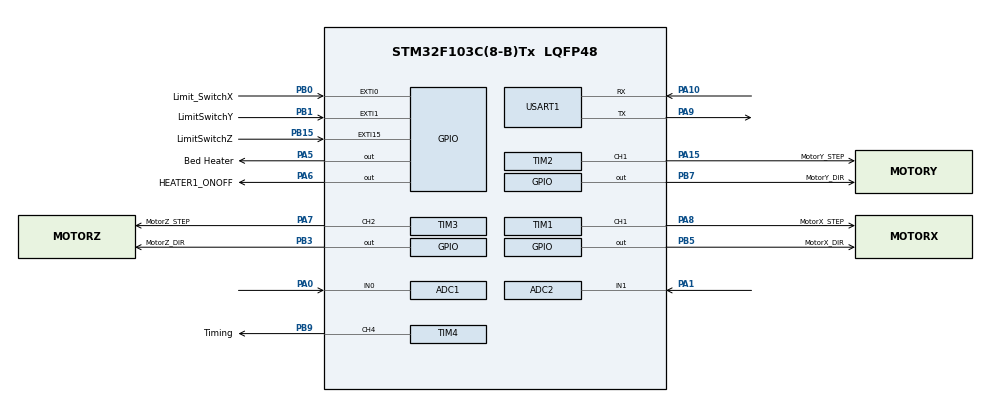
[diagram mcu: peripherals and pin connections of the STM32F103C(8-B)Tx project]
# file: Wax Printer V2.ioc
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ADC1.Channel-0\#ChannelRegularConversion=ADC_CHANNEL_0
ADC1.ContinuousConvMode=DISABLE
ADC1.ExternalTrigConv=ADC_EXTERNALTRIGCONV_T4_CC4
ADC1.NbrOfConversionFlag=1
ADC1.Rank-0\#ChannelRegularConversion=1
ADC1.SamplingTime-0\#ChannelRegularConversion=ADC_SAMPLETIME_13CYCLES_5
ADC1.master=1
ADC2.Channel-2\#ChannelRegularConversion=ADC_CHANNEL_1
ADC2.ExternalTrigConv=ADC_EXTERNALTRIGCONV_T4_CC4
ADC2.NbrOfConversionFlag=1
ADC2.Rank-2\#ChannelRegularConversion=1
ADC2.SamplingTime-2\#ChannelRegularConversion=ADC_SAMPLETIME_1CYCLE_5
Dma.ADC1.0.Direction=DMA_PERIPH_TO_MEMORY
Dma.ADC1.0.Instance=DMA1_Channel1
Dma.ADC1.0.MemDataAlignment=DMA_MDATAALIGN_HALFWORD
Dma.ADC1.0.MemInc=DMA_MINC_ENABLE
Dma.ADC1.0.Mode=DMA_NORMAL
Dma.ADC1.0.PeriphDataAlignment=DMA_PDATAALIGN_HALFWORD
Dma.ADC1.0.PeriphInc=DMA_PINC_DISABLE
Dma.ADC1.0.Priority=DMA_PRIORITY_LOW
Dma.Request0=ADC1
Dma.Request1=USART1_RX
Dma.Request2=USART1_TX
Dma.USART1_RX.1.Direction=DMA_PERIPH_TO_MEMORY
Dma.USART1_RX.1.Instance=DMA1_Channel5
Dma.USART1_RX.1.MemDataAlignment=DMA_MDATAALIGN_BYTE
Dma.USART1_RX.1.MemInc=DMA_MINC_ENABLE
Dma.USART1_RX.1.Mode=DMA_CIRCULAR
Dma.USART1_RX.1.PeriphDataAlignment=DMA_PDATAALIGN_BYTE
Dma.USART1_RX.1.PeriphInc=DMA_PINC_DISABLE
Dma.USART1_RX.1.Priority=DMA_PRIORITY_LOW
Dma.USART1_TX.2.Direction=DMA_MEMORY_TO_PERIPH
Dma.USART1_TX.2.Instance=DMA1_Channel4
Dma.USART1_TX.2.MemDataAlignment=DMA_MDATAALIGN_BYTE
Dma.USART1_TX.2.MemInc=DMA_MINC_ENABLE
Dma.USART1_TX.2.Mode=DMA_NORMAL
Dma.USART1_TX.2.PeriphDataAlignment=DMA_PDATAALIGN_BYTE
Dma.USART1_TX.2.PeriphInc=DMA_PINC_DISABLE
Dma.USART1_TX.2.Priority=DMA_PRIORITY_LOW
Mcu.Family=STM32F1
Mcu.Name=STM32F103C(8-B)Tx
Mcu.Package=LQFP48
NVIC.ADC1_2_IRQn=true\:2\:0\:true\:false\:true\:true\:true
NVIC.DMA1_Channel1_IRQn=true\:1\:0\:true\:false\:true\:false\:true
NVIC.DMA1_Channel4_IRQn=true\:1\:0\:true\:false\:false\:false\:false
NVIC.DMA1_Channel5_IRQn=true\:1\:0\:true\:false\:false\:false\:false
NVIC.EXTI0_IRQn=true\:1\:0\:true\:false\:true\:true\:true
NVIC.EXTI15_10_IRQn=true\:1\:0\:true\:false\:true\:true\:true
NVIC.EXTI1_IRQn=true\:1\:0\:true\:false\:true\:true\:true
NVIC.PriorityGroup=NVIC_PRIORITYGROUP_4
NVIC.TIM4_IRQn=true\:1\:0\:true\:false\:false\:true\:false
NVIC.USART1_IRQn=true\:1\:0\:true\:false\:false\:true\:false
PA0-WKUP.Signal=ADCx_IN0
PA1.Signal=ADCx_IN1
PA10.Mode=Asynchronous
PA10.Signal=USART1_RX
PA13.Mode=Serial_Wire
PA13.Signal=SYS_JTMS-SWDIO
PA14.Mode=Serial_Wire
PA14.Signal=SYS_JTCK-SWCLK
PA15.GPIO_Label=MotorY_STEP
PA15.Signal=S_TIM2_CH1_ETR
PA5.GPIO_Label=Bed Heater
PA5.GPIO_PuPd=GPIO_PULLDOWN
PA5.Signal=GPIO_Output
PA6.GPIO_Label=HEATER1_ONOFF
PA6.GPIO_PuPd=GPIO_PULLDOWN
PA6.PinState=GPIO_PIN_SET
PA6.Signal=GPIO_Output
PA7.GPIO_Label=MotorZ_STEP
PA7.Signal=S_TIM3_CH2
PA8.GPIO_Label=MotorX_STEP
PA8.Signal=S_TIM1_CH1
PA9.GPIO_Speed=GPIO_SPEED_FREQ_LOW
PA9.Mode=Asynchronous
PA9.Signal=USART1_TX
PB0.GPIO_Label=Limit_SwitchX
PB0.GPIO_PuPd=GPIO_PULLUP
PB0.Signal=GPXTI0
PB1.GPIO_Label=LimitSwitchY
PB1.GPIO_PuPd=GPIO_PULLUP
PB1.Signal=GPXTI1
PB15.GPIO_Label=LimitSwitchZ
PB15.GPIO_PuPd=GPIO_PULLUP
PB15.Signal=GPXTI15
PB3.GPIO_Label=MotorZ_DIR
PB3.GPIO_PuPd=GPIO_PULLDOWN
PB3.Signal=GPIO_Output
PB4.Signal=SYS_NJTRST
PB5.GPIO_Label=MotorX_DIR
PB5.GPIO_PuPd=GPIO_PULLDOWN
PB5.Signal=GPIO_Output
PB7.GPIO_Label=MotorY_DIR
PB7.GPIO_PuPd=GPIO_PULLDOWN
PB7.Signal=GPIO_Output
PB9.GPIO_Label=Timing
PB9.Signal=S_TIM4_CH4
ProjectManager.HeapSize=0x200
ProjectManager.StackSize=0x400
ProjectManager.TargetToolchain=TrueSTUDIO
RCC.AHBFreq_Value=64000000
RCC.APB1CLKDivider=RCC_HCLK_DIV2
RCC.APB1Freq_Value=32000000
RCC.APB1TimFreq_Value=64000000
RCC.APB2CLKDivider=RCC_HCLK_DIV4
RCC.APB2Freq_Value=16000000
RCC.APB2TimFreq_Value=32000000
RCC.HCLKFreq_Value=64000000
RCC.PLLMUL=RCC_PLL_MUL16
RCC.SYSCLKFreq_VALUE=64000000
RCC.SYSCLKSource=RCC_SYSCLKSOURCE_PLLCLK
RCC.USBFreq_Value=64000000
SH.ADCx_IN0.0=ADC1_IN0,IN0
SH.ADCx_IN1.0=ADC2_IN1,IN1
SH.S_TIM1_CH1.0=TIM1_CH1,PWM Generation1 CH1
SH.S_TIM2_CH1_ETR.0=TIM2_CH1,PWM Generation1 CH1
SH.S_TIM3_CH2.0=TIM3_CH2,PWM Generation2 CH2
SH.S_TIM4_CH4.0=TIM4_CH4,Output Compare4 CH4
TIM1.AutoReloadPreload=TIM_AUTORELOAD_PRELOAD_DISABLE
TIM1.Channel-PWM\ Generation1\ CH1=TIM_CHANNEL_1
TIM1.OC1Preload_PWM=DISABLE
TIM1.OCPolarity_1=TIM_OCPOLARITY_LOW
TIM1.Period=100
TIM1.Prescaler=16
TIM1.Pulse-PWM\ Generation1\ CH1=50
TIM1.TIM_MasterOutputTrigger=TIM_TRGO_OC4REF
TIM1.TIM_MasterSlaveMode=TIM_MASTERSLAVEMODE_ENABLE
TIM2.Channel-PWM\ Generation1\ CH1=TIM_CHANNEL_1
TIM2.OCPolarity_1=TIM_OCPOLARITY_LOW
TIM2.Period=100
TIM2.Prescaler=32
TIM2.Pulse-PWM\ Generation1\ CH1=50
TIM2.TIM_MasterOutputTrigger=TIM_TRGO_UPDATE
TIM2.TIM_MasterSlaveMode=TIM_MASTERSLAVEMODE_ENABLE
TIM3.Channel-PWM\ Generation2\ CH2=TIM_CHANNEL_2
TIM3.Period=1000
TIM3.Prescaler=16
TIM3.Pulse-PWM\ Generation2\ CH2=500
TIM4.AutoReloadPreload=TIM_AUTORELOAD_PRELOAD_ENABLE
TIM4.Channel-Output\ Compare4\ CH4=TIM_CHANNEL_4
TIM4.OCMode_4=TIM_OCMODE_TOGGLE
TIM4.Period=1000
TIM4.Prescaler=1280
TIM4.TIM_MasterOutputTrigger=TIM_TRGO_OC4REF
TIM4.TIM_MasterSlaveMode=TIM_MASTERSLAVEMODE_ENABLE
USART1.VirtualMode=VM_ASYNC
VP_TIM1_VS_ClockSourceINT.Mode=Internal
VP_TIM2_VS_ClockSourceINT.Mode=Internal
VP_TIM3_VS_ClockSourceINT.Mode=Internal
VP_TIM4_VS_ClockSourceINT.Mode=Internal
board=custom

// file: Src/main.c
/* USER CODE BEGIN Header */
/**
  ******************************************************************************
  * @file           : main.c
  * @brief          : Main program body
  ******************************************************************************
  * @attention
  *
  * <h2><center>&copy; Copyright (c) 2020 STMicroelectronics.
  * All rights reserved.</center></h2>
  *
  * This software component is licensed by ST under BSD 3-Clause license,
  * the "License"; You may not use this file except in compliance with the
  * License. You may obtain a copy of the License at:
  *                        opensource.org/licenses/BSD-3-Clause
  *
  ******************************************************************************
  */
/* USER CODE END Header */

#include "main.h"

/* USER CODE BEGIN Includes */
#include <stdint.h>
#include <stdlib.h>
#include <string.h>
#include <stdio.h>
#include "lwrb/lwrb.h"
#include "temperatureSensor.h"
#include "math.h"
#include "gcodeInterpreter.h"
/* USER CODE END Includes */

/* USER CODE BEGIN PD */
#define ADC_BUF_LEN 2
#define CHAR_BUFF_SIZE 5
#define STEPS_PER_MM 800
#define X_SOFT_LIMIT 220
#define Y_SOFT_LIMIT 110
#define Z_SOFT_LIMIT 26
#define N	10 //10 data blocks to write
/*
 * Function prototypes for UART and DMA management
 * */
void usart_rx_manage();
void usart_process_dma(const void* data, size_t len);
uint8_t usart_start_tx_dma_transfer(void);
void usart_send_string(const char* str);//

#define ARRAY_LEN(x)            (sizeof(x) / sizeof((x)[0])) //Array size
static uint8_t usart_rx_dma_buffer[32]; //Buffer which the DMA works with

/*Initialise ring buffer variables*/

/*For TX*/

static lwrb_t usart_tx_ringbuff;
static uint8_t usart_tx_ringbuff_data[128];
static size_t usart_tx_ringbuff_len;

/*For RX*/

static lwrb_t usart_rx_ringbuff;
static uint8_t usart_rx_ringbuff_data[64]; //8 bytes, 10 times + 1 as per lwRB documentation recommendation

/*For Gcode*/
static lwrb_t gcode_ringbuff;
static uint8_t gcode_ringbuff_data[321]; //32 bytes, 10 times + 1 as per lwRB documentation recommendation

/* USER CODE END PD */

ADC_HandleTypeDef hadc1;
ADC_HandleTypeDef hadc2;
DMA_HandleTypeDef hdma_adc1;

TIM_HandleTypeDef htim1;
TIM_HandleTypeDef htim2;
TIM_HandleTypeDef htim3;
TIM_HandleTypeDef htim4;

/* USER CODE BEGIN PV */
uint16_t waxThermistor, bedThermistor;
volatile float temperatureInDegrees,bedTemperatureInDegrees;
volatile float runningTotal,bedRunningTotal;
char sendTemp [8];
volatile int count_cycles, count_cycles_bed, heatingTime;
volatile float runningTotal;
volatile int timeElapsed,bedTimeElapsed;
volatile uint16_t startPI=0;
float setpoint = 80;
float bedSetpoint = 60;
float errorIntegral=0;
int heatingTimeSetpoint=120; //time of heating bed in seconds

/*For Limit Switches */
uint16_t limitSwitchX_Trigger = 0;
uint16_t limitSwitchY_Trigger = 0;
uint16_t limitSwitchZ_Trigger = 0;

/*DIRECTIONS
 * X: 1=left 0 = right
 * Y: 1=down 0 = up
 * Z: 1=down 0=up*/
uint16_t direction_x = 1; //Initially set 1 to home towards limit switch
uint16_t direction_y = 0; //Initially set 0 to home towards limit switch
uint16_t direction_z = 0; //Initially set 0 to home towards limit switch

uint32_t steps_x_target=0;
uint32_t steps_y_target=0;
uint32_t steps_z_target=0;

volatile int RELEASE_X = 1;
volatile int RELEASE_Y = 1;
volatile int RELEASE_Z = 1;

volatile uint32_t steps_x = 0;
volatile uint32_t steps_y = 0;
volatile uint32_t steps_z = 0;

volatile float positionX;
volatile float positionY;
volatile float positionZ;

/*Program actions*/
uint16_t homing = 0;
uint16_t heater = 0; //turn on heating by default
uint16_t bed = 0; //turn on heating by default
uint16_t drawCycle = 0;
uint16_t pushWax = 0;

/* USER CODE END PV */

void SystemClock_Config(void);
static void MX_GPIO_Init(void);
static void MX_DMA_Init(void);
static void MX_ADC1_Init(void);
static void MX_USART1_UART_Init(void);
static void MX_TIM1_Init(void);
static void MX_TIM4_Init(void);
static void MX_TIM2_Init(void);
static void MX_TIM3_Init(void);
static void MX_ADC2_Init(void);

int main(void)
{

  /* MCU Configuration--------------------------------------------------------*/

  /* Reset of all peripherals, Initializes the Flash interface and the Systick. */
  HAL_Init();

  /* Configure the system clock */
  SystemClock_Config();

  /* USER CODE BEGIN SysInit */

  /* Initialize the ringbuffers */
  lwrb_init(&usart_tx_ringbuff, usart_tx_ringbuff_data, sizeof(usart_tx_ringbuff_data));
  lwrb_init(&usart_rx_ringbuff, usart_rx_ringbuff_data, sizeof(usart_rx_ringbuff_data));
  lwrb_init(&gcode_ringbuff, gcode_ringbuff_data, sizeof(gcode_ringbuff_data));

  /* USER CODE END SysInit */

  /* Initialize all configured peripherals */
  MX_GPIO_Init();
  MX_DMA_Init();
  MX_ADC1_Init();
  MX_USART1_UART_Init();
  MX_TIM1_Init();
  MX_TIM4_Init();
  MX_TIM2_Init();
  MX_TIM3_Init();
  MX_ADC2_Init();
  /* USER CODE BEGIN 2 */

  /*NB! MX_TIM3_Init should not be called above after code generation. If init is called without HAL_TIM_PWM_Start(&htim3, TIM_CHANNEL_1);
   * then the heater defaults to always on. */

  /* USER CODE END 2 */

  /* Infinite loop */
  /* USER CODE BEGIN WHILE */
  while (1)
  {

	 //checkForCommands();

//	 if(homing==1){
//
//		 htim3.Instance->PSC = 16; //4kHz
//
//		 //start moving towards limit switch Z
//		 direction_z =0;//move up
//		 HAL_GPIO_WritePin(GPIOB, GPIO_PIN_3, direction_z);
//		 HAL_TIM_PWM_Start(&htim3, TIM_CHANNEL_2);
//		 homing=0;
//		  }

	 if(heater==1){
		 HAL_ADC_Start_IT(&hadc1);
		 HAL_TIM_OC_Start(&htim4,TIM_CHANNEL_4);
		 heater=0;
	 }

	 if(bed==1){
		 HAL_TIM_OC_Start(&htim4,TIM_CHANNEL_4);
		 HAL_ADC_Start_IT(&hadc2); //start the ADC for the heater bed
		 bed=0;
	 }

	 if(startPI==1){
//		 float error = setpoint - temperatureInDegrees;
//		 if(error > 0){
//			 HAL_GPIO_WritePin(GPIOA, GPIO_PIN_6, 0); //Activate low because the logic level converter inverter + schmitt invert
//		 } else if (error<0){
//			 HAL_GPIO_WritePin(GPIOA, GPIO_PIN_6, 1); //Deactive high because the logic level converter inverter + schmitt invert
//		 }
//		 float pi = PI(setpoint,temperatureInDegrees,20,10); //Set proportional and integral constants
//		 int actuate = limitActuation(pi,0,800); //Set maximum duty cycle to 80%
//		 htim3.Instance->CCR1 = actuate;
		 startPI=0;
		 int temperature = temperatureInDegrees;
		 int time = timeElapsed;
		 sendTemperature(time,temperature);
	 }

	 if(drawCycle==1){
		 direction_z = 1; //Move down
		 htim3.Instance->PSC = 16;
		 HAL_Delay(50);
		 drawWax();
		 drawCycle=0;
	 }

	 if(pushWax==1){
		 htim1.Instance->PSC = 3;
		 step_x(10000,0);
		 step_z(500,1);
		 HAL_Delay(1000);
		 htim3.Instance->PSC = 128; //Eject the wax at 500Hz
		 HAL_Delay(1000);
		 step_z(15000,1);
	 	 pushWax=0;
	 }
    /* USER CODE END WHILE */

  }
}

void SystemClock_Config(void)
{
  LL_FLASH_SetLatency(LL_FLASH_LATENCY_2);

   if(LL_FLASH_GetLatency() != LL_FLASH_LATENCY_2)
  {
    Error_Handler();
  }
  LL_RCC_HSI_SetCalibTrimming(16);
  LL_RCC_HSI_Enable();

   /* Wait till HSI is ready */
  while(LL_RCC_HSI_IsReady() != 1)
  {

  }
  LL_RCC_PLL_ConfigDomain_SYS(LL_RCC_PLLSOURCE_HSI_DIV_2, LL_RCC_PLL_MUL_16);
  LL_RCC_PLL_Enable();

   /* Wait till PLL is ready */
  while(LL_RCC_PLL_IsReady() != 1)
  {

  }
  LL_RCC_SetAHBPrescaler(LL_RCC_SYSCLK_DIV_1);
  LL_RCC_SetAPB1Prescaler(LL_RCC_APB1_DIV_2);
  LL_RCC_SetAPB2Prescaler(LL_RCC_APB2_DIV_4);
  LL_RCC_SetSysClkSource(LL_RCC_SYS_CLKSOURCE_PLL);

   /* Wait till System clock is ready */
  while(LL_RCC_GetSysClkSource() != LL_RCC_SYS_CLKSOURCE_STATUS_PLL)
  {

  }
  LL_SetSystemCoreClock(64000000);

   /* Update the time base */
  if (HAL_InitTick (TICK_INT_PRIORITY) != HAL_OK)
  {
    Error_Handler();
  };
  LL_RCC_SetADCClockSource(LL_RCC_ADC_CLKSRC_PCLK2_DIV_2);
}

static void MX_ADC1_Init(void)
{

  ADC_ChannelConfTypeDef sConfig = {0};

  /** Common config
  */
  hadc1.Instance = ADC1;
  hadc1.Init.ScanConvMode = ADC_SCAN_DISABLE;
  hadc1.Init.ContinuousConvMode = DISABLE;
  hadc1.Init.DiscontinuousConvMode = DISABLE;
  hadc1.Init.ExternalTrigConv = ADC_EXTERNALTRIGCONV_T4_CC4;
  hadc1.Init.DataAlign = ADC_DATAALIGN_RIGHT;
  hadc1.Init.NbrOfConversion = 1;
  if (HAL_ADC_Init(&hadc1) != HAL_OK)
  {
    Error_Handler();
  }
  /** Configure Regular Channel
  */
  sConfig.Channel = ADC_CHANNEL_0;
  sConfig.Rank = ADC_REGULAR_RANK_1;
  sConfig.SamplingTime = ADC_SAMPLETIME_13CYCLES_5;
  if (HAL_ADC_ConfigChannel(&hadc1, &sConfig) != HAL_OK)
  {
    Error_Handler();
  }

}

static void MX_ADC2_Init(void)
{

  ADC_ChannelConfTypeDef sConfig = {0};

  /** Common config
  */
  hadc2.Instance = ADC2;
  hadc2.Init.ScanConvMode = ADC_SCAN_DISABLE;
  hadc2.Init.ContinuousConvMode = DISABLE;
  hadc2.Init.DiscontinuousConvMode = DISABLE;
  hadc2.Init.ExternalTrigConv = ADC_EXTERNALTRIGCONV_T4_CC4;
  hadc2.Init.DataAlign = ADC_DATAALIGN_RIGHT;
  hadc2.Init.NbrOfConversion = 1;
  if (HAL_ADC_Init(&hadc2) != HAL_OK)
  {
    Error_Handler();
  }
  /** Configure Regular Channel
  */
  sConfig.Channel = ADC_CHANNEL_1;
  sConfig.Rank = ADC_REGULAR_RANK_1;
  sConfig.SamplingTime = ADC_SAMPLETIME_1CYCLE_5;
  if (HAL_ADC_ConfigChannel(&hadc2, &sConfig) != HAL_OK)
  {
    Error_Handler();
  }

}

static void MX_TIM1_Init(void)
{

  TIM_ClockConfigTypeDef sClockSourceConfig = {0};
  TIM_MasterConfigTypeDef sMasterConfig = {0};
  TIM_OC_InitTypeDef sConfigOC = {0};
  TIM_BreakDeadTimeConfigTypeDef sBreakDeadTimeConfig = {0};

  htim1.Instance = TIM1;
  htim1.Init.Prescaler = 16;
  htim1.Init.CounterMode = TIM_COUNTERMODE_UP;
  htim1.Init.Period = 100;
  htim1.Init.ClockDivision = TIM_CLOCKDIVISION_DIV1;
  htim1.Init.RepetitionCounter = 0;
  htim1.Init.AutoReloadPreload = TIM_AUTORELOAD_PRELOAD_DISABLE;
  if (HAL_TIM_Base_Init(&htim1) != HAL_OK)
  {
    Error_Handler();
  }
  sClockSourceConfig.ClockSource = TIM_CLOCKSOURCE_INTERNAL;
  if (HAL_TIM_ConfigClockSource(&htim1, &sClockSourceConfig) != HAL_OK)
  {
    Error_Handler();
  }
  if (HAL_TIM_PWM_Init(&htim1) != HAL_OK)
  {
    Error_Handler();
  }
  sMasterConfig.MasterOutputTrigger = TIM_TRGO_OC4REF;
  sMasterConfig.MasterSlaveMode = TIM_MASTERSLAVEMODE_ENABLE;
  if (HAL_TIMEx_MasterConfigSynchronization(&htim1, &sMasterConfig) != HAL_OK)
  {
    Error_Handler();
  }
  sConfigOC.OCMode = TIM_OCMODE_PWM1;
  sConfigOC.Pulse = 50;
  sConfigOC.OCPolarity = TIM_OCPOLARITY_LOW;
  sConfigOC.OCNPolarity = TIM_OCNPOLARITY_HIGH;
  sConfigOC.OCFastMode = TIM_OCFAST_DISABLE;
  sConfigOC.OCIdleState = TIM_OCIDLESTATE_RESET;
  sConfigOC.OCNIdleState = TIM_OCNIDLESTATE_RESET;
  if (HAL_TIM_PWM_ConfigChannel(&htim1, &sConfigOC, TIM_CHANNEL_1) != HAL_OK)
  {
    Error_Handler();
  }
  __HAL_TIM_DISABLE_OCxPRELOAD(&htim1, TIM_CHANNEL_1);
  sBreakDeadTimeConfig.OffStateRunMode = TIM_OSSR_DISABLE;
  sBreakDeadTimeConfig.OffStateIDLEMode = TIM_OSSI_DISABLE;
  sBreakDeadTimeConfig.LockLevel = TIM_LOCKLEVEL_OFF;
  sBreakDeadTimeConfig.DeadTime = 0;
  sBreakDeadTimeConfig.BreakState = TIM_BREAK_DISABLE;
  sBreakDeadTimeConfig.BreakPolarity = TIM_BREAKPOLARITY_HIGH;
  sBreakDeadTimeConfig.AutomaticOutput = TIM_AUTOMATICOUTPUT_DISABLE;
  if (HAL_TIMEx_ConfigBreakDeadTime(&htim1, &sBreakDeadTimeConfig) != HAL_OK)
  {
    Error_Handler();
  }
  HAL_TIM_MspPostInit(&htim1);

}

static void MX_TIM2_Init(void)
{

  TIM_ClockConfigTypeDef sClockSourceConfig = {0};
  TIM_MasterConfigTypeDef sMasterConfig = {0};
  TIM_OC_InitTypeDef sConfigOC = {0};

  htim2.Instance = TIM2;
  htim2.Init.Prescaler = 32;
  htim2.Init.CounterMode = TIM_COUNTERMODE_UP;
  htim2.Init.Period = 100;
  htim2.Init.ClockDivision = TIM_CLOCKDIVISION_DIV1;
  htim2.Init.AutoReloadPreload = TIM_AUTORELOAD_PRELOAD_DISABLE;
  if (HAL_TIM_Base_Init(&htim2) != HAL_OK)
  {
    Error_Handler();
  }
  sClockSourceConfig.ClockSource = TIM_CLOCKSOURCE_INTERNAL;
  if (HAL_TIM_ConfigClockSource(&htim2, &sClockSourceConfig) != HAL_OK)
  {
    Error_Handler();
  }
  if (HAL_TIM_PWM_Init(&htim2) != HAL_OK)
  {
    Error_Handler();
  }
  sMasterConfig.MasterOutputTrigger = TIM_TRGO_UPDATE;
  sMasterConfig.MasterSlaveMode = TIM_MASTERSLAVEMODE_ENABLE;
  if (HAL_TIMEx_MasterConfigSynchronization(&htim2, &sMasterConfig) != HAL_OK)
  {
    Error_Handler();
  }
  sConfigOC.OCMode = TIM_OCMODE_PWM1;
  sConfigOC.Pulse = 50;
  sConfigOC.OCPolarity = TIM_OCPOLARITY_LOW;
  sConfigOC.OCFastMode = TIM_OCFAST_DISABLE;
  if (HAL_TIM_PWM_ConfigChannel(&htim2, &sConfigOC, TIM_CHANNEL_1) != HAL_OK)
  {
    Error_Handler();
  }
  HAL_TIM_MspPostInit(&htim2);

}

static void MX_TIM3_Init(void)
{

  TIM_ClockConfigTypeDef sClockSourceConfig = {0};
  TIM_MasterConfigTypeDef sMasterConfig = {0};
  TIM_OC_InitTypeDef sConfigOC = {0};

  htim3.Instance = TIM3;
  htim3.Init.Prescaler = 16;
  htim3.Init.CounterMode = TIM_COUNTERMODE_UP;
  htim3.Init.Period = 1000;
  htim3.Init.ClockDivision = TIM_CLOCKDIVISION_DIV1;
  htim3.Init.AutoReloadPreload = TIM_AUTORELOAD_PRELOAD_DISABLE;
  if (HAL_TIM_Base_Init(&htim3) != HAL_OK)
  {
    Error_Handler();
  }
  sClockSourceConfig.ClockSource = TIM_CLOCKSOURCE_INTERNAL;
  if (HAL_TIM_ConfigClockSource(&htim3, &sClockSourceConfig) != HAL_OK)
  {
    Error_Handler();
  }
  if (HAL_TIM_PWM_Init(&htim3) != HAL_OK)
  {
    Error_Handler();
  }
  sMasterConfig.MasterOutputTrigger = TIM_TRGO_RESET;
  sMasterConfig.MasterSlaveMode = TIM_MASTERSLAVEMODE_DISABLE;
  if (HAL_TIMEx_MasterConfigSynchronization(&htim3, &sMasterConfig) != HAL_OK)
  {
    Error_Handler();
  }
  sConfigOC.OCMode = TIM_OCMODE_PWM1;
  sConfigOC.Pulse = 500;
  sConfigOC.OCPolarity = TIM_OCPOLARITY_HIGH;
  sConfigOC.OCFastMode = TIM_OCFAST_DISABLE;
  if (HAL_TIM_PWM_ConfigChannel(&htim3, &sConfigOC, TIM_CHANNEL_2) != HAL_OK)
  {
    Error_Handler();
  }
  HAL_TIM_MspPostInit(&htim3);

}

static void MX_TIM4_Init(void)
{

  TIM_ClockConfigTypeDef sClockSourceConfig = {0};
  TIM_MasterConfigTypeDef sMasterConfig = {0};
  TIM_OC_InitTypeDef sConfigOC = {0};

  htim4.Instance = TIM4;
  htim4.Init.Prescaler = 1280;
  htim4.Init.CounterMode = TIM_COUNTERMODE_UP;
  htim4.Init.Period = 1000;
  htim4.Init.ClockDivision = TIM_CLOCKDIVISION_DIV1;
  htim4.Init.AutoReloadPreload = TIM_AUTORELOAD_PRELOAD_ENABLE;
  if (HAL_TIM_Base_Init(&htim4) != HAL_OK)
  {
    Error_Handler();
  }
  sClockSourceConfig.ClockSource = TIM_CLOCKSOURCE_INTERNAL;
  if (HAL_TIM_ConfigClockSource(&htim4, &sClockSourceConfig) != HAL_OK)
  {
    Error_Handler();
  }
  if (HAL_TIM_OC_Init(&htim4) != HAL_OK)
  {
    Error_Handler();
  }
  sMasterConfig.MasterOutputTrigger = TIM_TRGO_OC4REF;
  sMasterConfig.MasterSlaveMode = TIM_MASTERSLAVEMODE_ENABLE;
  if (HAL_TIMEx_MasterConfigSynchronization(&htim4, &sMasterConfig) != HAL_OK)
  {
    Error_Handler();
  }
  sConfigOC.OCMode = TIM_OCMODE_TOGGLE;
  sConfigOC.Pulse = 0;
  sConfigOC.OCPolarity = TIM_OCPOLARITY_HIGH;
  sConfigOC.OCFastMode = TIM_OCFAST_DISABLE;
  if (HAL_TIM_OC_ConfigChannel(&htim4, &sConfigOC, TIM_CHANNEL_4) != HAL_OK)
  {
    Error_Handler();
  }
  HAL_TIM_MspPostInit(&htim4);

}

static void MX_USART1_UART_Init(void)
{

  LL_USART_InitTypeDef USART_InitStruct = {0};

  LL_GPIO_InitTypeDef GPIO_InitStruct = {0};

  /* Peripheral clock enable */
  LL_APB2_GRP1_EnableClock(LL_APB2_GRP1_PERIPH_USART1);

  LL_APB2_GRP1_EnableClock(LL_APB2_GRP1_PERIPH_GPIOA);
  /**USART1 GPIO Configuration
  PA9   ------> USART1_TX
  PA10   ------> USART1_RX
  */
  GPIO_InitStruct.Pin = LL_GPIO_PIN_9;
  GPIO_InitStruct.Mode = LL_GPIO_MODE_ALTERNATE;
  GPIO_InitStruct.Speed = LL_GPIO_SPEED_FREQ_LOW;
  GPIO_InitStruct.OutputType = LL_GPIO_OUTPUT_PUSHPULL;
  LL_GPIO_Init(GPIOA, &GPIO_InitStruct);

  GPIO_InitStruct.Pin = LL_GPIO_PIN_10;
  GPIO_InitStruct.Mode = LL_GPIO_MODE_FLOATING;
  LL_GPIO_Init(GPIOA, &GPIO_InitStruct);

  /* USART1 DMA Init */

  /* USART1_RX Init */
  LL_DMA_SetDataTransferDirection(DMA1, LL_DMA_CHANNEL_5, LL_DMA_DIRECTION_PERIPH_TO_MEMORY);

  LL_DMA_SetChannelPriorityLevel(DMA1, LL_DMA_CHANNEL_5, LL_DMA_PRIORITY_LOW);

  LL_DMA_SetMode(DMA1, LL_DMA_CHANNEL_5, LL_DMA_MODE_CIRCULAR);

  LL_DMA_SetPeriphIncMode(DMA1, LL_DMA_CHANNEL_5, LL_DMA_PERIPH_NOINCREMENT);

  LL_DMA_SetMemoryIncMode(DMA1, LL_DMA_CHANNEL_5, LL_DMA_MEMORY_INCREMENT);

  LL_DMA_SetPeriphSize(DMA1, LL_DMA_CHANNEL_5, LL_DMA_PDATAALIGN_BYTE);

  LL_DMA_SetMemorySize(DMA1, LL_DMA_CHANNEL_5, LL_DMA_MDATAALIGN_BYTE);

  /* USART1_TX Init */
  LL_DMA_SetDataTransferDirection(DMA1, LL_DMA_CHANNEL_4, LL_DMA_DIRECTION_MEMORY_TO_PERIPH);

  LL_DMA_SetChannelPriorityLevel(DMA1, LL_DMA_CHANNEL_4, LL_DMA_PRIORITY_LOW);

  LL_DMA_SetMode(DMA1, LL_DMA_CHANNEL_4, LL_DMA_MODE_NORMAL);

  LL_DMA_SetPeriphIncMode(DMA1, LL_DMA_CHANNEL_4, LL_DMA_PERIPH_NOINCREMENT);

  LL_DMA_SetMemoryIncMode(DMA1, LL_DMA_CHANNEL_4, LL_DMA_MEMORY_INCREMENT);

  LL_DMA_SetPeriphSize(DMA1, LL_DMA_CHANNEL_4, LL_DMA_PDATAALIGN_BYTE);

  LL_DMA_SetMemorySize(DMA1, LL_DMA_CHANNEL_4, LL_DMA_MDATAALIGN_BYTE);

  /* USART1 interrupt Init */
  NVIC_SetPriority(USART1_IRQn, NVIC_EncodePriority(NVIC_GetPriorityGrouping(),1, 0));
  NVIC_EnableIRQ(USART1_IRQn);

  /* USER CODE BEGIN USART1_Init 1 */
  LL_DMA_SetPeriphAddress(DMA1, LL_DMA_CHANNEL_5, (uint32_t)&USART1->DR);
  LL_DMA_SetMemoryAddress(DMA1, LL_DMA_CHANNEL_5, (uint32_t)usart_rx_dma_buffer);
  LL_DMA_SetDataLength(DMA1, LL_DMA_CHANNEL_5, ARRAY_LEN(usart_rx_dma_buffer));
  LL_DMA_SetPeriphAddress(DMA1, LL_DMA_CHANNEL_4, (uint32_t)&USART1->DR);

  /* Enable HT & TC interrupts for RX */
   LL_DMA_EnableIT_HT(DMA1, LL_DMA_CHANNEL_5);
   LL_DMA_EnableIT_TC(DMA1, LL_DMA_CHANNEL_5);

  /* Enable HT & TC interrupts for TX */
   LL_DMA_EnableIT_TC(DMA1, LL_DMA_CHANNEL_4);

  /* USER CODE END USART1_Init 1 */
  USART_InitStruct.BaudRate = 115200;
  USART_InitStruct.DataWidth = LL_USART_DATAWIDTH_8B;
  USART_InitStruct.StopBits = LL_USART_STOPBITS_1;
  USART_InitStruct.Parity = LL_USART_PARITY_NONE;
  USART_InitStruct.TransferDirection = LL_USART_DIRECTION_TX_RX;
  USART_InitStruct.HardwareFlowControl = LL_USART_HWCONTROL_NONE;
  USART_InitStruct.OverSampling = LL_USART_OVERSAMPLING_16;
  LL_USART_Init(USART1, &USART_InitStruct);
  LL_USART_ConfigAsyncMode(USART1);
  LL_USART_Enable(USART1);
  /* USER CODE BEGIN USART1_Init 2 */
  LL_USART_EnableDMAReq_RX(USART1);
  LL_USART_EnableDMAReq_TX(USART1);
  LL_USART_EnableIT_IDLE(USART1);
  LL_DMA_EnableChannel(DMA1, LL_DMA_CHANNEL_5);
  LL_USART_Enable(USART1);

  /* USER CODE END USART1_Init 2 */

}

static void MX_DMA_Init(void)
{

  /* Init with LL driver */
  /* DMA controller clock enable */
  LL_AHB1_GRP1_EnableClock(LL_AHB1_GRP1_PERIPH_DMA1);

  /* DMA interrupt init */
  /* DMA1_Channel1_IRQn interrupt configuration */
  HAL_NVIC_SetPriority(DMA1_Channel1_IRQn, 1, 0);
  HAL_NVIC_EnableIRQ(DMA1_Channel1_IRQn);
  /* DMA1_Channel4_IRQn interrupt configuration */
  NVIC_SetPriority(DMA1_Channel4_IRQn, NVIC_EncodePriority(NVIC_GetPriorityGrouping(),1, 0));
  NVIC_EnableIRQ(DMA1_Channel4_IRQn);
  /* DMA1_Channel5_IRQn interrupt configuration */
  NVIC_SetPriority(DMA1_Channel5_IRQn, NVIC_EncodePriority(NVIC_GetPriorityGrouping(),1, 0));
  NVIC_EnableIRQ(DMA1_Channel5_IRQn);

}

static void MX_GPIO_Init(void)
{
  LL_EXTI_InitTypeDef EXTI_InitStruct = {0};
  LL_GPIO_InitTypeDef GPIO_InitStruct = {0};

  /* GPIO Ports Clock Enable */
  LL_APB2_GRP1_EnableClock(LL_APB2_GRP1_PERIPH_GPIOA);
  LL_APB2_GRP1_EnableClock(LL_APB2_GRP1_PERIPH_GPIOB);

  /**/
  LL_GPIO_ResetOutputPin(Bed_Heater_GPIO_Port, Bed_Heater_Pin);

  /**/
  LL_GPIO_ResetOutputPin(GPIOB, MotorZ_DIR_Pin|MotorX_DIR_Pin|MotorY_DIR_Pin);

  /**/
  LL_GPIO_SetOutputPin(HEATER1_ONOFF_GPIO_Port, HEATER1_ONOFF_Pin);

  /**/
  GPIO_InitStruct.Pin = Bed_Heater_Pin|HEATER1_ONOFF_Pin;
  GPIO_InitStruct.Mode = LL_GPIO_MODE_OUTPUT;
  GPIO_InitStruct.Speed = LL_GPIO_SPEED_FREQ_LOW;
  GPIO_InitStruct.OutputType = LL_GPIO_OUTPUT_PUSHPULL;
  GPIO_InitStruct.Pull = LL_GPIO_PULL_DOWN;
  LL_GPIO_Init(GPIOA, &GPIO_InitStruct);

  /**/
  GPIO_InitStruct.Pin = MotorZ_DIR_Pin|MotorX_DIR_Pin|MotorY_DIR_Pin;
  GPIO_InitStruct.Mode = LL_GPIO_MODE_OUTPUT;
  GPIO_InitStruct.Speed = LL_GPIO_SPEED_FREQ_LOW;
  GPIO_InitStruct.OutputType = LL_GPIO_OUTPUT_PUSHPULL;
  GPIO_InitStruct.Pull = LL_GPIO_PULL_DOWN;
  LL_GPIO_Init(GPIOB, &GPIO_InitStruct);

  /**/
  LL_GPIO_AF_SetEXTISource(LL_GPIO_AF_EXTI_PORTB, LL_GPIO_AF_EXTI_LINE0);

  /**/
  LL_GPIO_AF_SetEXTISource(LL_GPIO_AF_EXTI_PORTB, LL_GPIO_AF_EXTI_LINE1);

  /**/
  LL_GPIO_AF_SetEXTISource(LL_GPIO_AF_EXTI_PORTB, LL_GPIO_AF_EXTI_LINE15);

  /**/
  EXTI_InitStruct.Line_0_31 = LL_EXTI_LINE_0;
  EXTI_InitStruct.LineCommand = ENABLE;
  EXTI_InitStruct.Mode = LL_EXTI_MODE_IT;
  EXTI_InitStruct.Trigger = LL_EXTI_TRIGGER_RISING;
  LL_EXTI_Init(&EXTI_InitStruct);

  /**/
  EXTI_InitStruct.Line_0_31 = LL_EXTI_LINE_1;
  EXTI_InitStruct.LineCommand = ENABLE;
  EXTI_InitStruct.Mode = LL_EXTI_MODE_IT;
  EXTI_InitStruct.Trigger = LL_EXTI_TRIGGER_RISING;
  LL_EXTI_Init(&EXTI_InitStruct);

  /**/
  EXTI_InitStruct.Line_0_31 = LL_EXTI_LINE_15;
  EXTI_InitStruct.LineCommand = ENABLE;
  EXTI_InitStruct.Mode = LL_EXTI_MODE_IT;
  EXTI_InitStruct.Trigger = LL_EXTI_TRIGGER_RISING;
  LL_EXTI_Init(&EXTI_InitStruct);

  /**/
  LL_GPIO_SetPinPull(Limit_SwitchX_GPIO_Port, Limit_SwitchX_Pin, LL_GPIO_PULL_UP);

  /**/
  LL_GPIO_SetPinPull(LimitSwitchY_GPIO_Port, LimitSwitchY_Pin, LL_GPIO_PULL_UP);

  /**/
  LL_GPIO_SetPinPull(LimitSwitchZ_GPIO_Port, LimitSwitchZ_Pin, LL_GPIO_PULL_UP);

  /**/
  LL_GPIO_SetPinMode(Limit_SwitchX_GPIO_Port, Limit_SwitchX_Pin, LL_GPIO_MODE_INPUT);

  /**/
  LL_GPIO_SetPinMode(LimitSwitchY_GPIO_Port, LimitSwitchY_Pin, LL_GPIO_MODE_INPUT);

  /**/
  LL_GPIO_SetPinMode(LimitSwitchZ_GPIO_Port, LimitSwitchZ_Pin, LL_GPIO_MODE_INPUT);

  /* EXTI interrupt init*/
  NVIC_SetPriority(EXTI0_IRQn, NVIC_EncodePriority(NVIC_GetPriorityGrouping(),1, 0));
  NVIC_EnableIRQ(EXTI0_IRQn);
  NVIC_SetPriority(EXTI1_IRQn, NVIC_EncodePriority(NVIC_GetPriorityGrouping(),1, 0));
  NVIC_EnableIRQ(EXTI1_IRQn);
  NVIC_SetPriority(EXTI15_10_IRQn, NVIC_EncodePriority(NVIC_GetPriorityGrouping(),1, 0));
  NVIC_EnableIRQ(EXTI15_10_IRQn);

}

/* USER CODE BEGIN 4 */

/*
 * This function is used to write a string to the TX buffer and then calls the
 * start DMA transfer function. credit: MaJerle
 * */

void
usart_send_string(const char* str) {
    lwrb_write(&usart_tx_ringbuff, str, strlen(str));   /* Write data to TX buffer for loopback */
    usart_start_tx_dma_transfer();              /* Then try to start transfer */
}

/*
 * This function is used to write a string to start the DMA transfer
 * Called by usart_send_string
 * credit: MaJerle
 * */

uint8_t usart_start_tx_dma_transfer(void){
	uint32_t old_primask;
	uint8_t started = 0;

	old_primask = __get_PRIMASK();
	__disable_irq();

	if(usart_tx_ringbuff_len ==0){
		usart_tx_ringbuff_len = lwrb_get_linear_block_read_length(&usart_tx_ringbuff);
		if(usart_tx_ringbuff_len>0){
			LL_DMA_DisableChannel(DMA1,LL_DMA_CHANNEL_4);

			/* Clear all flags */
			LL_DMA_ClearFlag_TC2(DMA1);
			LL_DMA_ClearFlag_HT2(DMA1);
			LL_DMA_ClearFlag_GI2(DMA1);
			LL_DMA_ClearFlag_TE2(DMA1);

			/* Start DMA transfer */
			LL_DMA_SetDataLength(DMA1, LL_DMA_CHANNEL_4, usart_tx_ringbuff_len);
			LL_DMA_SetMemoryAddress(DMA1, LL_DMA_CHANNEL_4, (uint32_t)lwrb_get_linear_block_read_address(&usart_tx_ringbuff));

			/* Start new transfer */
			LL_DMA_EnableChannel(DMA1, LL_DMA_CHANNEL_4);
			started = 1;

		}
	}

	__set_PRIMASK(old_primask);
	return started;
}

/*This function copies data available for write from the DMA buffer to
 *a working buffer for use within the program. Uses the lwrb library
 *for ring buffer support.
 */

void usart_process_data(const void* data, size_t len){
	lwrb_write(&usart_rx_ringbuff, data, len);  /* Write data to RX buffer for editing */
	checkForCommands();
}

/*This function handles the various cases for DMA read/write operation
 *to determine which data to transfer from the DMA buffer to some
 *working buffer. See stm32-usart-uart-dma-rx-tx by MaJerle.
 * */
void usart_rx_manage(){
	static size_t old_position;
	size_t position;

	/*Calculate the current position in the buffer*/
	position = ARRAY_LEN(usart_rx_dma_buffer) - LL_DMA_GetDataLength(DMA1, LL_DMA_CHANNEL_5);
	/*Check if there has been a change*/
	if(old_position != position){

		/*"Linear mode" where we will subtract pointers*/

		if(position > old_position){
			usart_process_data(&usart_rx_dma_buffer[old_position], position - old_position);
		} else {
		/*"Overflow mode" where we will subtract pointers*/

			/*process to the end of the buffer*/
			usart_process_data(&usart_rx_dma_buffer[old_position], ARRAY_LEN(usart_rx_dma_buffer) - old_position);

			if (position > 0){
				usart_process_data(&usart_rx_dma_buffer[0], position);
			}
				}

		old_position = position; /*Save the current position as the old one for next run*/

		/*Check for if the end of the buffer is reached and if so reset*/
		if(old_position == ARRAY_LEN(usart_rx_dma_buffer)){
			old_position=0;
		}
	}
}
//Interrupt Handlers

void DMA1_Channel4_IRQHandler(void) {
	/* Check transfer-complete interrupt */
	if (LL_DMA_IsEnabledIT_TC(DMA1, LL_DMA_CHANNEL_4) && LL_DMA_IsActiveFlag_TC4(DMA1)) {
		LL_DMA_ClearFlag_TC4(DMA1);             /* Clear transfer complete flag */
	    lwrb_skip(&usart_tx_ringbuff, usart_tx_ringbuff_len);/* Skip buffer, it has been successfully sent out */
	    usart_tx_ringbuff_len = 0;           /* Reset data length */
	    usart_start_tx_dma_transfer();          /* Start new transfer */
	    }
}

void DMA1_Channel5_IRQHandler(void)
{

	/* Check if the Half transfer flag is enabled and raised */
	if(LL_DMA_IsEnabledIT_HT(DMA1,LL_DMA_CHANNEL_5) && LL_DMA_IsActiveFlag_HT5(DMA1)){
		LL_DMA_ClearFlag_HT5(DMA1); /* Clear the Half-Transfer complete flag */
		usart_rx_manage();	/* call */
	}

	/*Check if the Transfer Complete flag is enabled and raised */
	if(LL_DMA_IsEnabledIT_TC(DMA1, LL_DMA_CHANNEL_5) && LL_DMA_IsActiveFlag_TC5(DMA1)){
		LL_DMA_ClearFlag_TC5(DMA1); /* Clear the Transfer-COmplete flag */
		usart_rx_manage();
	}

}

void USART1_IRQHandler(void)
{
  /*Check if the Idle flag is enabled and is raised*/
	if(LL_USART_IsEnabledIT_IDLE(USART1) && LL_USART_IsActiveFlag_IDLE(USART1)){
		LL_USART_ClearFlag_IDLE(USART1);      /* Clear IDLE line flag */
		usart_rx_manage();	/* Call check function */
	}

}

// Thermistor

//void HAL_ADC_ConvCpltCallback(ADC_HandleTypeDef* hadc) {
//	//HAL_GPIO_WritePin(GPIOC,GPIO_PIN_13,GPIO_PIN_RESET);
//	waxThermistor=adc_buf[0];
//	temperatureInDegrees = read_temp(waxThermistor);
//	HAL_ADC_Start(&hadc1);
//}

/*Interrupt Routines for counting Steps*/

//void TIM1_UP_IRQHandler(void)
//{
//  if (__HAL_TIM_GET_FLAG(&htim1, TIM_FLAG_UPDATE))
//  {
//    if (__HAL_TIM_GET_IT_SOURCE(&htim1, TIM_IT_UPDATE))
//    {
//    	step_update('X');
//    	__HAL_TIM_CLEAR_FLAG(&htim1, TIM_FLAG_UPDATE);
//        __HAL_TIM_CLEAR_FLAG(&htim1,TIM_FLAG_CC1 );
////        __HAL_TIM_CLEAR_FLAG(&htim1,TIM_FLAG_CC2 );
////        __HAL_TIM_CLEAR_FLAG(&htim1,TIM_FLAG_CC3 );
////        __HAL_TIM_CLEAR_FLAG(&htim1,TIM_FLAG_CC4 );
//      }
//    }
//  }

//void TIM2_IRQHandler(void)
//{
//	if (__HAL_TIM_GET_FLAG(&htim2, TIM_FLAG_UPDATE))
//	  {
//	    if (__HAL_TIM_GET_IT_SOURCE(&htim2, TIM_IT_UPDATE))
//	    {
//	    	step_update('Y');
//	    	__HAL_TIM_CLEAR_FLAG(&htim2, TIM_FLAG_UPDATE);
//	        __HAL_TIM_CLEAR_FLAG(&htim2,TIM_FLAG_CC1 );
//	        __HAL_TIM_CLEAR_FLAG(&htim2,TIM_FLAG_CC2 );
//	        __HAL_TIM_CLEAR_FLAG(&htim2,TIM_FLAG_CC3 );
//	        __HAL_TIM_CLEAR_FLAG(&htim2,TIM_FLAG_CC4 );
//	      }
//	    }
//}

//void TIM3_IRQHandler(void)
//{
//	if (__HAL_TIM_GET_FLAG(&htim3, TIM_FLAG_UPDATE))
//	  {
//	    if (__HAL_TIM_GET_IT_SOURCE(&htim3, TIM_IT_UPDATE))
//	    {
//	    	step_update('Z');
//	    	__HAL_TIM_CLEAR_FLAG(&htim3, TIM_FLAG_UPDATE);
//	        __HAL_TIM_CLEAR_FLAG(&htim3,TIM_FLAG_CC1);
//	        __HAL_TIM_CLEAR_FLAG(&htim3,TIM_FLAG_CC2);
//	        __HAL_TIM_CLEAR_FLAG(&htim3,TIM_FLAG_CC3);
//	        __HAL_TIM_CLEAR_FLAG(&htim3,TIM_FLAG_CC4);
//	      }
//	    }
//}

void step_x(uint32_t numberSteps, uint16_t direction){
	RELEASE_X=0;
	steps_x_target = numberSteps;
	direction_x = direction;
	HAL_GPIO_WritePin(GPIOB, GPIO_PIN_5, direction_x);
	__HAL_TIM_ENABLE_IT(&htim1, TIM_IT_UPDATE);
	HAL_TIM_PWM_Start_IT(&htim1, TIM_CHANNEL_1);
	while(RELEASE_X!=1){
		 if (__HAL_TIM_GET_FLAG(&htim1, TIM_FLAG_UPDATE))
		  {
		    if (__HAL_TIM_GET_IT_SOURCE(&htim1, TIM_IT_UPDATE))
		    {
		    	step_update('X');
		    	__HAL_TIM_CLEAR_FLAG(&htim1, TIM_FLAG_UPDATE);
		        __HAL_TIM_CLEAR_FLAG(&htim1,TIM_FLAG_CC1 );
		      }
	}
	}
}

void step_y(uint32_t numberSteps, uint16_t direction){

	RELEASE_Y=0;
	steps_y_target = numberSteps;
	direction_y = direction;
	HAL_GPIO_WritePin(GPIOB, GPIO_PIN_7, direction_y);
	__HAL_TIM_ENABLE_IT(&htim2, TIM_IT_UPDATE);
	HAL_TIM_PWM_Start_IT(&htim2, TIM_CHANNEL_1);
	while(RELEASE_Y!=1){
			if (__HAL_TIM_GET_FLAG(&htim2, TIM_FLAG_UPDATE))
			  {
			    if (__HAL_TIM_GET_IT_SOURCE(&htim2, TIM_IT_UPDATE))
			    {
			    	step_update('Y');
			    	__HAL_TIM_CLEAR_FLAG(&htim2, TIM_FLAG_UPDATE);
			        __HAL_TIM_CLEAR_FLAG(&htim2,TIM_FLAG_CC1);
			      }
			    }
			      }
}

void step_z(uint32_t numberSteps, uint16_t direction){

	RELEASE_Z=0;
	steps_z_target = numberSteps;
	direction_z = direction;
	HAL_GPIO_WritePin(GPIOB, GPIO_PIN_3, direction_z);
	__HAL_TIM_ENABLE_IT(&htim3, TIM_IT_UPDATE);
	HAL_TIM_PWM_Start_IT(&htim3, TIM_CHANNEL_2);
	while(RELEASE_Z!=1){
				if (__HAL_TIM_GET_FLAG(&htim3, TIM_FLAG_UPDATE))
				  {
				    if (__HAL_TIM_GET_IT_SOURCE(&htim3, TIM_IT_UPDATE))
				    {
				    	step_update('Z');
				    	__HAL_TIM_CLEAR_FLAG(&htim3, TIM_FLAG_UPDATE);
				        __HAL_TIM_CLEAR_FLAG(&htim3,TIM_FLAG_CC2);
				      }
				    }
				      }

}

void step_update(char axis){
	switch(axis){
		case 'X':
			steps_x++;
			updatePosition(axis);
			if(steps_x==2*(steps_x_target)){ //check if 2* because the update event happens twice every pulse
				HAL_TIM_PWM_Stop(&htim1, TIM_CHANNEL_1);
				steps_x_target=0;
				steps_x=0;
				RELEASE_X=1;
			}
			break;
		case 'Y':
			steps_y++;
			updatePosition(axis);
			if(steps_y==2*(steps_y_target)){
				HAL_TIM_PWM_Stop(&htim2, TIM_CHANNEL_1);
				steps_y_target=0;
				steps_y=0;
				RELEASE_Y=1;
			}
			break;

		case 'Z':
			steps_z++;
			updatePosition(axis);
			if(steps_z==2*(steps_z_target)){
				HAL_TIM_PWM_Stop(&htim3, TIM_CHANNEL_2);
				steps_z_target=0;
				steps_z=0;
				RELEASE_Z=1;
				}
				break;
			}
		}

/* This function keeps track of the position of each axis
 * It checks what the direction called was and then either
 * adds it or
 */
void updatePosition(char axis){

	switch(axis){
		case 'X':

			//soft limits relative to the homed position. 30mm from the home position
			if(positionX>=X_SOFT_LIMIT){
				HAL_TIM_PWM_Stop(&htim1, TIM_CHANNEL_1);
				break;
			}

			//check if moving +X
			if(direction_x == 0){
				positionX+=(float)1/(2*STEPS_PER_MM);
			//check if moving -X
			} else if (direction_x == 1) {
				positionX-=(float)1/(2*STEPS_PER_MM);
			}
			break;

		case 'Y':

			//soft limits relative to the homed position. 30mm from the home position
			if(positionY>=Y_SOFT_LIMIT){
				HAL_TIM_PWM_Stop(&htim2, TIM_CHANNEL_1);
				break;
			}

			//check if moving +Y
			if(direction_y == 0){
				positionY-=(float)1/(2*STEPS_PER_MM);
			//check if moving -Y
			} else if (direction_y == 1) {
				positionY+=(float)1/(2*STEPS_PER_MM);
			}
			break;

		case 'Z':

			//soft limits relative to the homed position. 30mm from the home position
			if(positionZ>=Z_SOFT_LIMIT){
				HAL_TIM_PWM_Stop(&htim3, TIM_CHANNEL_2);
				break;
			}
			//check if moving +Z
			if(direction_z == 0){
				positionZ-=(float)1/(2*STEPS_PER_MM);
			//check if moving -Z
			} else if (direction_z == 1) {
				positionZ+=(float)1/(2*STEPS_PER_MM);
			}
			break;
	}
}

/* This function simply returns the current position
 * of a given motor axis and returns the position
 * in mm's.
 */

int32_t getPosition(char axis){
	switch(axis){
		case 'X':
			return positionToSteps(positionX);
			break;

		case 'Y':
			return positionToSteps(positionY);
			break;

		case 'Z':
			return positionToSteps(positionZ);
			break;
		default:
			break;
		}
		return 0;
}

float getPositionMM(char axis){
	switch(axis){
		case 'X':
			return positionX;
			break;

		case 'Y':
			return positionY;
			break;

		case 'Z':
			return positionZ;
			break;
		default:
			break;
		}
		return 0;
}

int32_t positionToSteps(float position){
	int32_t positionInSteps = position*STEPS_PER_MM;
	return positionInSteps;
}

/*This function checks to see if the requested move does not
 * violate the soft limit then works out the required steps
 * to get to that position and calls the function to step */

void moveTo(char axis, float position){

	int distanceToMove = round(position - getPositionMM(axis));

	switch(axis){
		case 'X':
			if((position)<0){
				usart_send_string("Invalid position");
				break;
			} else if (position>=X_SOFT_LIMIT){
				usart_send_string("Invalid position");
				break;
			} else {
				int stepsToMove = distanceToMove*STEPS_PER_MM; //work out the steps to move
				if(stepsToMove<0){
					direction_x = 1; //move -X
					step_x(-stepsToMove,direction_x); //take absolute value of distance and step
				} else if (stepsToMove>0){
					direction_x=0; //move +X
					step_x(stepsToMove,direction_x);
				}
			}
			break;

		case 'Y':
			if((position)<0){
				usart_send_string("Invalid position");
				break;
			} else if (position>=Y_SOFT_LIMIT){
				usart_send_string("Invalid position");
				break;
			} else {
				uint32_t stepsToMove = distanceToMove*STEPS_PER_MM; //work out the steps to move
				if(stepsToMove<0){
					direction_y = 0; //move -Y
					step_y(-stepsToMove,direction_y); //take absolute value of distance and step
				} else if (stepsToMove>0){
					direction_y=1; //move +Y
					step_y(stepsToMove,direction_y);
				}
			}
			break;

		case 'Z':
			if((position)<0){
				usart_send_string("Invalid position");
				break;
			} else if (position>=Z_SOFT_LIMIT){
				usart_send_string("Invalid position");
				break;
			} else {
				uint32_t stepsToMove = distanceToMove*STEPS_PER_MM; //work out the steps to move
				if(stepsToMove<0){
					direction_z = 0; //move -Z
					step_z(-stepsToMove,direction_z); //take absolute value of distance and step
				} else if (stepsToMove>0){
					direction_z=1; //move +X
					step_z(stepsToMove,direction_z);
				}
			}
			break;
		}
}

/*This function moves the plunger to the bottom and then pulls it back up again*/

void drawWax(){
	step_z(21*800,1); //move down
	htim3.Instance->PSC = 8;
	HAL_Delay(1000);
	step_z(15*800,0);
}

// Handling of interrupts for limit switches

void limitSwitch1Trigger(void){

	if(limitSwitchX_Trigger==1){
		HAL_TIM_PWM_Stop(&htim1, TIM_CHANNEL_1);
		NVIC_DisableIRQ(EXTI0_IRQn);
		RELEASE_X = 1;
		step_x(12000,0); //move 5mm off limit
		positionX=0;
		limitSwitchX_Trigger=1;
		NVIC_EnableIRQ(EXTI0_IRQn);
		return;
	} else {
	HAL_TIM_PWM_Stop(&htim1, TIM_CHANNEL_1);
	NVIC_DisableIRQ(EXTI0_IRQn);
	RELEASE_X = 1;
	step_x(12000,0); //move 5mm off limit
	positionX=0;
	limitSwitchX_Trigger=1;
	NVIC_EnableIRQ(EXTI0_IRQn);
	}
}

void limitSwitch2Trigger(void){

	if(limitSwitchY_Trigger==1){
		HAL_TIM_PWM_Stop(&htim2, TIM_CHANNEL_1);
		NVIC_DisableIRQ(EXTI1_IRQn);
		RELEASE_Y = 1;
		step_y(12000,1); //move 5mm off limit
		positionY=0;
		limitSwitchY_Trigger=1;
		NVIC_EnableIRQ(EXTI1_IRQn);
		return;
	} else {

	HAL_TIM_PWM_Stop(&htim2, TIM_CHANNEL_1);
	NVIC_DisableIRQ(EXTI1_IRQn);
	RELEASE_Y = 1;
	step_y(12000,1); //move 5mm off limit
	positionY=0;
	limitSwitchY_Trigger=1;
	NVIC_EnableIRQ(EXTI1_IRQn);
	}
}

void limitSwitch3Trigger(void){

	if(limitSwitchZ_Trigger==1){
		HAL_TIM_PWM_Stop(&htim3, TIM_CHANNEL_2);
		HAL_TIM_PWM_Stop(&htim3, TIM_CHANNEL_2);
		NVIC_DisableIRQ(EXTI15_10_IRQn);
		RELEASE_Z = 1;
		step_z(1600,1); //Step back off the limit switch
		positionZ=0;
		limitSwitchZ_Trigger=1;
		NVIC_EnableIRQ(EXTI1_IRQn);
		return;
	}

	HAL_TIM_PWM_Stop(&htim3, TIM_CHANNEL_2);
	NVIC_DisableIRQ(EXTI15_10_IRQn);
	RELEASE_Z = 1;
	step_z(1600,1); //Step back off the limit switch
	positionZ=0;
	limitSwitchZ_Trigger=1;
	NVIC_EnableIRQ(EXTI1_IRQn);
}

//float PI(float setpoint, float current, int Kp, int Ki){
//
//	//if there is something wrong with the ADC and it returns 0 then do nothing.
//	if(current==0){
//			return 0;
//		}
//
//	float err = setpoint - current;
//	if(err<0){
//		err=0;
//	}
//
//	errorIntegral = errorIntegral + err;
//	if(errorIntegral>50){
//		errorIntegral=50;
//	} else if(errorIntegral <-50){
//		errorIntegral=-50;
//	}
//	float P = Kp*err;
//	float E = Ki*errorIntegral;
//	return P + E;
//}
//
//int limitActuation(float input, int min, int max){
//	if(input<min) return min;
//	if(input>max) return max;
//	return input;
//}

void sendTemperature(int time, int temperature){
	char buffer [5];
	strcat(sendTemp,"W");
	itoa(temperature,buffer,10);
	strcat(sendTemp,buffer);
	strcat(sendTemp,"\n");
	usart_send_string(sendTemp);
	sendTemp[0] = '\0';
//	floatBuf[0] = '\0';
}

void HAL_ADC_ConvCpltCallback(ADC_HandleTypeDef *hadc){

	//Aluminium block heater
	if(hadc == &hadc1){
		waxThermistor = HAL_ADC_GetValue(&hadc1);
			if(waxThermistor==0){
				usart_send_string("Thermistor not reading");
			}

			float temperature = getTemperature((float)waxThermistor);

			/*Moving average*/
				if(count_cycles<49){
					runningTotal+=temperature;
					count_cycles++;
				}

				if(count_cycles==49){
					startPI=1;
					runningTotal+=temperature;
					float average = (roundf(runningTotal * 100) / 100)/50;
					temperatureInDegrees = average;
					timeElapsed+=1;
					runningTotal = 0;
					count_cycles = 0;
					if(timeElapsed==999){
						timeElapsed=0;
					}

					float error = setpoint - temperatureInDegrees;
					if(error > 0){
						HAL_GPIO_WritePin(GPIOA, GPIO_PIN_6, 1); //Activate low because the logic level converter inverter + schmitt invert
					} else if (error<0){
						HAL_GPIO_WritePin(GPIOA, GPIO_PIN_6, 0); //Deactive high because the logic level converter inverter + schmitt invert
					}
				}
	//Bed heater
	} else if (hadc == &hadc2){
		bedThermistor = HAL_ADC_GetValue(&hadc2);
		float bedTemperature = getTemperature((float)bedThermistor);

		if(count_cycles_bed<49){
							bedRunningTotal+=bedTemperature;
							count_cycles_bed++;
						}
		if(count_cycles_bed==49){
							bedRunningTotal+=bedTemperature;
							float average = (roundf(bedRunningTotal * 100) / 100)/50;
							bedTemperatureInDegrees = average;
							bedTimeElapsed+=1;
							bedRunningTotal = 0;
							count_cycles_bed = 0;
							if(bedTimeElapsed==999){
								bedTimeElapsed=0;
							}

							float bedError = bedSetpoint - bedTemperatureInDegrees;
							if(bedError > 0){
								HAL_GPIO_WritePin(GPIOA, GPIO_PIN_5, 1);
							} else if (bedError<0){
								HAL_GPIO_WritePin(GPIOA, GPIO_PIN_5, 0);
							}

							heatingTime++; //increment every second
							if(heatingTime==heatingTimeSetpoint){
								HAL_ADC_Stop_IT(&hadc2); //turn off the interrupt
								HAL_GPIO_WritePin(GPIOA, GPIO_PIN_5, 0); //turn off the heater
								heatingTime=0;
							}
						}
	}

}

/*Function to start homing for x */
void homeX(){
	 //start moving towards limit switch X
	limitSwitchX_Trigger = 0;
	 HAL_GPIO_WritePin(GPIOB, GPIO_PIN_5, 1);
	 HAL_TIM_PWM_Start(&htim1, TIM_CHANNEL_1);
}

/*Function to start homing for y */
void homeY(){
	//start moving towards limit switch Y
	limitSwitchY_Trigger = 0;
	HAL_GPIO_WritePin(GPIOB, GPIO_PIN_7, 0);
	HAL_TIM_PWM_Start(&htim2, TIM_CHANNEL_1);
}

/*Function to start homing for y */
void homeZ(){
	 //start moving towards limit switch Z
	 htim3.Instance->PSC = 16;
	 HAL_GPIO_WritePin(GPIOB, GPIO_PIN_3, 0);
	 HAL_TIM_PWM_Start(&htim3, TIM_CHANNEL_2);
}

void test(){
	moveTo('X',90);
	moveTo('Y',60);
	positionX=0;
	positionY=0;
//	drawLine(getPosition('X')),positionToSteps(getPosition('Y')),positionToSteps(0.000),positionToSteps(3.000));
	arc(2.000,3.000, 1.000,2.291);
	drawLine(positionToSteps(getPosition('X')),positionToSteps(getPosition('Y')),positionToSteps(2.000),positionToSteps(0.000));
	arc(0,0,-1.000,-2.291);
	//drawLine(positionToSteps(getPosition('X')),positionToSteps(getPosition('Y')),positionToSteps(2.000),positionToSteps(-0.000));
	//arc(0.000,0.000,-1.000,-2.291);

}

/* This function is used before starting the print to check that the wax ejects*/

void testPush(){
	htim3.Instance->PSC = 4;
	HAL_Delay(1000);
	step_z(2400,1);
	HAL_Delay(1000);
	step_z(2400,0);
}

void startDrip(){

	HAL_GPIO_WritePin(GPIOB, GPIO_PIN_3, 1);
	htim3.Instance->PSC = 800; //160Hz
	HAL_Delay(50);
	HAL_TIM_PWM_Start_IT(&htim3, TIM_CHANNEL_2);
}

/* This function looks at a buffer of Gcode commands, loops through the buffer
 * looking for the end of the command and then executes each line successively
 */
void startPrint(){

	char *command = (char *)calloc(1, 2 - 0 +1); //make a string 2 bytes long

	char compareValue [5] = {0};
	char X [5] = {0};
	char Y [5] = {0};
	char I [6] = {0};
	char J [6] = {0};
	float x_value, y_value, i_value,j_value;

	size_t toRead = lwrb_get_full(&gcode_ringbuff);

	moveTo('X',95);
	moveTo('Y',50);

	htim2.Instance->PSC = 50; //set the print speed to 5kHz
	htim1.Instance->PSC = 100; //Set print speed to 5kHz

	startDrip();

	HAL_Delay(10000);

	htim2.Instance->PSC = 200; //set the print speed to
	moveTo('Y',60);
	htim2.Instance->PSC = 50; //set the print speed to 5kHz

	positionX=0;
	positionY=0;

	while(toRead!=0){

		lwrb_read(&gcode_ringbuff,command,2); //read the first two characters from gcode buffer into this string

		strcpy(compareValue,"G1");
		int result = strcmp(command, compareValue);
		if(result==0){ //If the command is G1
			lwrb_skip(&gcode_ringbuff,1); //skip the 'X'
			lwrb_read(&gcode_ringbuff,X,6); //read the value
			lwrb_skip(&gcode_ringbuff,1); //skip the 'Y'
			lwrb_read(&gcode_ringbuff,Y,6); //read the value
			lwrb_skip(&gcode_ringbuff,1); //skip the hash tag

			x_value = atof(X);
			y_value = atof(Y);

			//Call Bresenhams line drawing function
			htim2.Instance->PSC = 200; //set the print speed to
			htim1.Instance->PSC = 400; //Set print speed to
			drawLine(getPosition('X'),getPosition('Y'),positionToSteps(x_value),positionToSteps(y_value));
			htim2.Instance->PSC = 50; //set the print speed to 5kHz
			htim1.Instance->PSC = 100; //Set print speed to 5kHz
		} else {
			strcpy(compareValue,"G2");
			result = strcmp(command, compareValue);
			if(result==0){
				lwrb_skip(&gcode_ringbuff,1); //skip the 'X'
				lwrb_read(&gcode_ringbuff,X,6); //read the value
				lwrb_skip(&gcode_ringbuff,1); //skip the 'Y'
				lwrb_read(&gcode_ringbuff,Y,6); //read the value
				lwrb_skip(&gcode_ringbuff,1); //skip the I
				lwrb_read(&gcode_ringbuff,I,6); //read the I value
				lwrb_skip(&gcode_ringbuff,1); //skip the J
				lwrb_read(&gcode_ringbuff,J,6); //read the J value
				lwrb_skip(&gcode_ringbuff,1); //skip the hash tag

				x_value = atof(X);
				y_value = atof(Y);
				i_value = atof(I);
				j_value = atof(J);

				arc(positionToSteps(x_value),positionToSteps(y_value), i_value,j_value);
			}
		}

		toRead = lwrb_get_full(&gcode_ringbuff);
	}

	HAL_TIM_PWM_Stop_IT(&htim3, TIM_CHANNEL_2);
	htim1.Instance->PSC = 16; //set the homing speed back to 20kHz
	htim2.Instance->PSC = 32; //Set print speed to 5kHz
	homeX();
	HAL_ADC_Stop_IT(&hadc1);
	heater = 0;
	HAL_GPIO_WritePin(GPIOA, GPIO_PIN_6, 0); //stop the wax heater
	bed = 1; //turn on the bed heater for the set amount of time

}

void spec2(){
	/*move to some start position and then make 5 lines,
	 * set the ejection rate such that droplets form
	 */
	moveTo('Y',20);
	moveTo('X',50);

	htim1.Instance->PSC = 32; //axis speed to 10kHz
	htim2.Instance->PSC = 64; //axis speed to 10kHz

	HAL_GPIO_WritePin(GPIOB, GPIO_PIN_3, 1);
	htim3.Instance->PSC = 200; //160Hz (160Hz or 400 for spec 3, for spec 2)
	HAL_TIM_PWM_Start_IT(&htim3, TIM_CHANNEL_2);
	HAL_Delay(5000);

	moveTo('X',100);
	moveTo('Y',30);
	moveTo('X',50);
	moveTo('Y',40);
	moveTo('X',100);
	moveTo('Y',50);
	moveTo('X',50);
	moveTo('Y',60);
	moveTo('X',100);
	moveTo('Y',70);

	HAL_TIM_PWM_Stop_IT(&htim3, TIM_CHANNEL_2);
	moveTo('Y',80);

}

void spec1(){
	/*move to some start position and then make 5 lines,
	 * set the ejection rate such that droplets form
	 */
	moveTo('Y',20);
	moveTo('X',50);

	htim1.Instance->PSC = 32; //axis speed to 10kHz
	htim2.Instance->PSC = 64; //axis speed to 10kHz

	HAL_GPIO_WritePin(GPIOB, GPIO_PIN_3, 1);
	htim3.Instance->PSC = 700; //(400 for spec 3)
	HAL_TIM_PWM_Start_IT(&htim3, TIM_CHANNEL_2);
	HAL_Delay(5000);

	moveTo('X',100);
	moveTo('Y',30);
	moveTo('X',50);
	moveTo('Y',40);
	moveTo('X',100);
	moveTo('Y',50);
	moveTo('X',50);
	moveTo('Y',60);
	moveTo('X',100);
	moveTo('Y',70);

	HAL_TIM_PWM_Stop_IT(&htim3, TIM_CHANNEL_2);
	moveTo('Y',80);

}

void checkForCommands(){
	//Check how many characters are in the buffer ready to be read,
	//if there is something to be read then start reading
	size_t toRead = lwrb_get_full(&usart_rx_ringbuff);
	if(toRead==32){
		int result;
		char currentRead [32] = {0};
		lwrb_read(&usart_rx_ringbuff,currentRead,32);

		char compareValue [9] = {0};
		strcpy(compareValue,"homx");
		result = strncmp(currentRead, compareValue,4);
		if(result==0){
			homeX(); //
			return;
		}

		strcpy(compareValue,"homy");
		result = strncmp(currentRead, compareValue,4);
		if(result==0){
			homeY();
			return;
		}

		strcpy(compareValue,"homz");
		result = strncmp(currentRead, compareValue,4);
		if(result==0){
			homeZ();
			return;
			}

		strcpy(compareValue,"movz+");
		result = strncmp(currentRead, compareValue,5);
		if(result==0){
			step_z(800,0);
			return;
		}

		strcpy(compareValue,"movz-");
		result = strncmp(currentRead, compareValue,5);
		if(result==0){
			step_z(800,1);
			return;
			}

		//Check for linear move command G1 or G2 commands
		strcpy(compareValue,"G");
			result = strncmp(currentRead, compareValue,1);
			if(result==0){
				char * stopIndex = strchr(currentRead,'#');
				lwrb_write(&gcode_ringbuff, currentRead, stopIndex - currentRead+1);
				return;
			}

		//Check for clockwise arc move command F
		strcpy(compareValue,"F");
			result = strncmp(currentRead, compareValue,1);
			if(result==0){
				startPrint(&gcode_ringbuff);
				return;
			}

		strcpy(compareValue,"heat");
		result = strncmp(currentRead, compareValue,3);
		if(result==0){
			heater=1;
		}

		strcpy(compareValue,"bed");
		result = strncmp(currentRead, compareValue,3);
		if(result==0){
			bed=1;
		}

		strcpy(compareValue,"spec1");
		result = strncmp(currentRead, compareValue,5);
		if(result==0){
			spec1();
		}

		strcpy(compareValue,"draw");
		result = strncmp(currentRead,compareValue,4);
		if(result==0){
			drawCycle=1;
		}
	}
}
/* USER CODE END 4 */

void Error_Handler(void)
{
}

/************************ (C) COPYRIGHT STMicroelectronics *****END OF FILE****/
